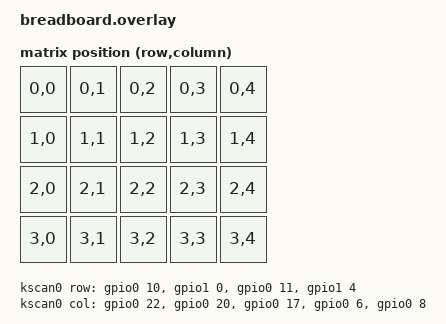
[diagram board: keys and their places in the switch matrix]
#include <dt-bindings/zmk/matrix_transform.h>

/ {
    chosen {
        zmk,kscan = &kscan0;
        zmk,matrix_transform = &default_transform;
        zmk,physical-layout = &physical_layout0;
    };

    kscan0: kscan_0 {
        compatible = "zmk,kscan-gpio-matrix";
        diode-direction = "col2row";
        wakeup-source;

        col-gpios = <&gpio0 22 GPIO_ACTIVE_HIGH>,
                    <&gpio0 20 GPIO_ACTIVE_HIGH>,
                    <&gpio0 17 GPIO_ACTIVE_HIGH>,
                    <&gpio0 6 GPIO_ACTIVE_HIGH>,
                    <&gpio0 8 GPIO_ACTIVE_HIGH>;

        row-gpios = <&gpio0 10 (GPIO_ACTIVE_HIGH | GPIO_PULL_DOWN)>,
                    <&gpio1 0 (GPIO_ACTIVE_HIGH | GPIO_PULL_DOWN)>,
                    <&gpio0 11 (GPIO_ACTIVE_HIGH | GPIO_PULL_DOWN)>,
                    <&gpio1 4 (GPIO_ACTIVE_HIGH | GPIO_PULL_DOWN)>;
    };

    default_transform: matrix_transform {
        compatible = "zmk,matrix-transform";
        rows = <4>;
        columns = <5>;

        map = <
            RC(0,0) RC(0,1) RC(0,2) RC(0,3) RC(0,4)
            RC(1,0) RC(1,1) RC(1,2) RC(1,3) RC(1,4)
            RC(2,0) RC(2,1) RC(2,2) RC(2,3) RC(2,4)
            RC(3,0) RC(3,1) RC(3,2) RC(3,3) RC(3,4)
        >;
    }; 

    physical_layout0: physical_layout_0 { 
        compatible = "zmk,physical-layout";
        display-name = "Default Layout";
        kscan = <&kscan0>; 
        transform = <&default_transform>;
    };  
};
